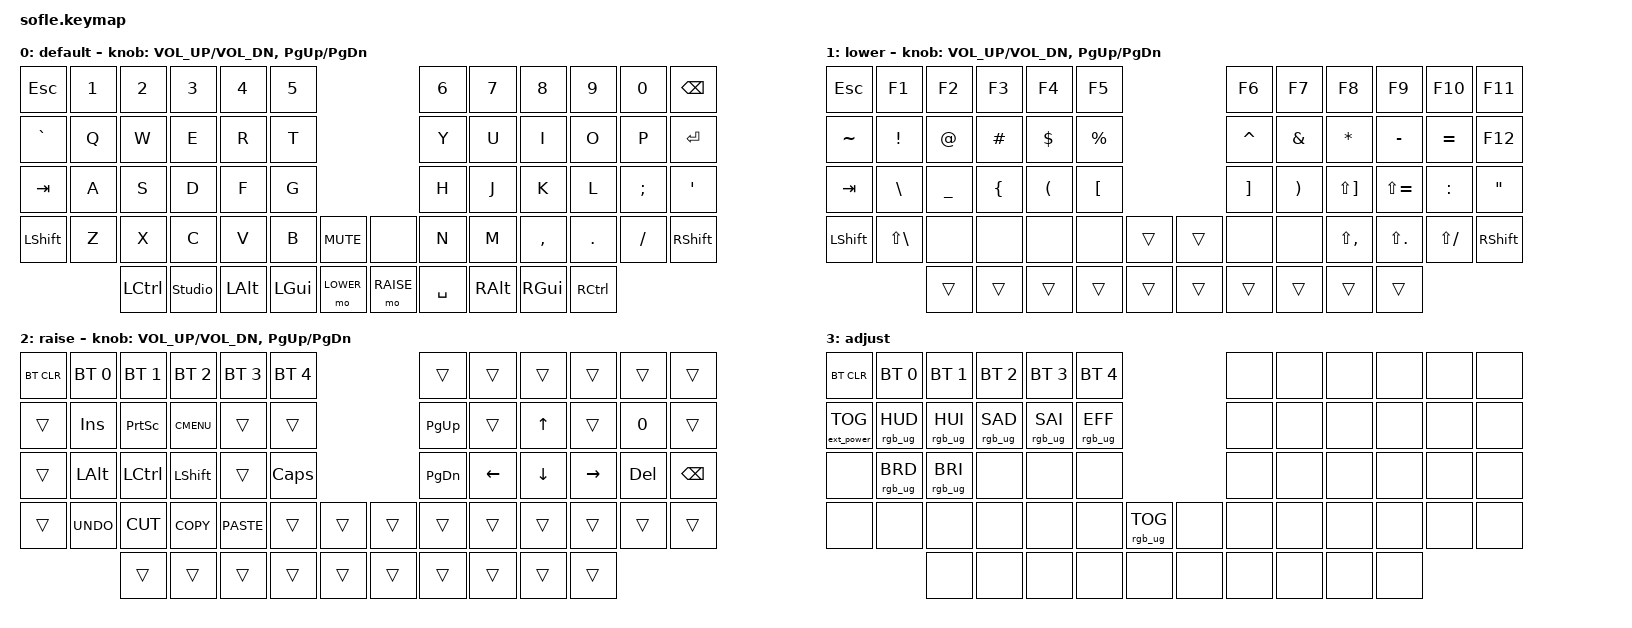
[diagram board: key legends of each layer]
/*
 * Copyright (c) 2020 The ZMK Contributors
 *
 * SPDX-License-Identifier: MIT
 */

#include <behaviors.dtsi>
#include <dt-bindings/zmk/keys.h>
#include <dt-bindings/zmk/bt.h>
#include <dt-bindings/zmk/rgb.h>
#include <dt-bindings/zmk/ext_power.h>

#define BASE 0
#define LOWER 1
#define RAISE 2
#define ADJUST 3

/ {

   // Activate ADJUST layer by pressing raise and lower
    conditional_layers {
        compatible = "zmk,conditional-layers";
        adjust_layer {
            if-layers = <LOWER RAISE>;
            then-layer = <ADJUST>;
        };
    };

    keymap {
        compatible = "zmk,keymap";

        default_layer {
            display-name = "default";
// ------------------------------------------------------------------------------------------------------------
// |  ESC  |  1  |  2   |  3     |  4   |  5   |                   |  6   |  7    |  8   |  9   |   0   | BKSPC |
// |   `   |  Q  |  W   |  E     |  R   |  T   |                   |  Y   |  U    |  I   |  O   |   P   | ENTER |
// |  TAB  |  A  |  S   |  D     |  F   |  G   |                   |  H   |  J    |  K   |  L   |   ;   |   '   |
// | SHIFT |  Z  |  X   |  C     |  V   |  B   |  MUTE  |  |       |  N   |  M    |  ,   |  .   |   /   | SHIFT |
//               | CTRL | STUDIO | ALT  | GUI  |  LOWER |  | RAISE | SPACE| ALT   | GUI  | CTRL |
            bindings = <
&kp ESC   &kp N1 &kp N2    &kp N3            &kp N4    &kp N5                             &kp N6     &kp N7    &kp N8    &kp N9   &kp N0   &kp BSPC
&kp GRAVE &kp Q  &kp W     &kp E             &kp R     &kp T                              &kp Y      &kp U     &kp I     &kp O    &kp P    &kp RET
&kp TAB   &kp A  &kp S     &kp D             &kp F     &kp G                              &kp H      &kp J     &kp K     &kp L    &kp SEMI &kp SQT
&kp LSHFT &kp Z  &kp X     &kp C             &kp V     &kp B      &kp C_MUTE   &none      &kp N      &kp M     &kp COMMA &kp DOT  &kp FSLH &kp RSHFT
                 &kp LCTRL &studio_unlock    &kp LALT  &kp LGUI   &mo LOWER    &mo RAISE  &kp SPACE  &kp RALT  &kp RGUI  &kp RCTRL
            >;

            sensor-bindings = <&inc_dec_kp C_VOL_UP C_VOL_DN &inc_dec_kp PG_UP PG_DN>;
        };

        lower_layer {
            display-name = "lower";
// TODO: Some binds are waiting for shifted keycode support.
// ------------------------------------------------------------------------------------------------------------
// |  ESC  |  F1 |  F2 |  F3  |  F4  |  F5  |                   |  F6  |  F7   |  F8   |  F9  |  F10  |  F11  |
// |   ~   |  !  |  @  |  #   |  $   |  %   |                   |  ^   |  &    |  *    |  -   |   =   |  F12  |
// |  TAB  |  \  |  _  |  {   |  (   |  [   |        |  |       |  ]   |  )    |  }    |  +   |   :   |   "   |
// | SHIFT |  |  |     |      |      |      |        |  |       |      |       |  <    |  >   |   ?   | SHIFT |
//               |     |      |      |      |        |  |       |      |       |       |      |
            bindings = <
&kp ESC      &kp F1        &kp F2    &kp F3      &kp F4    &kp F5                    &kp F6      &kp F7     &kp F8        &kp F9         &kp F10        &kp F11
&kp TILDE    &kp EXCL      &kp AT    &kp HASH    &kp DLLR  &kp PRCNT                 &kp CARET   &kp AMPS   &kp ASTRK     &kp MINUS      &kp EQUAL      &kp F12
&kp TAB      &kp BSLH      &kp UNDER &kp LBRC    &kp LPAR  &kp LBKT                  &kp RBKT    &kp RPAR   &kp LS(RBKT)  &kp LS(EQUAL)  &kp COLON      &kp DQT
&kp LSHFT    &kp LS(BSLH)  &none     &none       &none     &none      &trans &trans  &none       &none      &kp LS(COMMA) &kp LS(DOT)    &kp LS(FSLH)   &kp RSHFT
                           &trans    &trans      &trans    &trans     &trans &trans  &trans      &trans     &trans        &trans
            >;

            sensor-bindings = <&inc_dec_kp C_VOL_UP C_VOL_DN &inc_dec_kp PG_UP PG_DN>;
        };

        raise_layer {
            display-name = "raise";
// ------------------------------------------------------------------------------------------------------------
// | BTCLR | BT1  | BT2  |  BT3  |  BT4  |  BT5 |                |      |      |       |      |       |       |
// |       | INS  | PSCR | GUI   |       |      |                | PGUP |      |   ^   |      |   0   |       |
// |       | ALT  | CTRL | SHIFT |       | CAPS |                | PGDN |   <- |   v   |  ->  |  DEL  | BKSPC |
// |       | UNDO | CUT  | COPY  | PASTE |      |      |  |      |      |      |       |      |       |       |
//                |      |       |       |      |      |  |      |      |      |       |      |
            bindings = <
&bt BT_CLR &bt BT_SEL 0 &bt BT_SEL 1 &bt BT_SEL 2 &bt BT_SEL 3 &bt BT_SEL 4                  &trans    &trans    &trans   &trans    &trans  &trans
&trans     &kp INS      &kp PSCRN    &kp K_CMENU  &trans       &trans                        &kp PG_UP &trans    &kp UP   &trans    &kp N0  &trans
&trans     &kp LALT     &kp LCTRL    &kp LSHFT    &trans       &kp CLCK                      &kp PG_DN &kp LEFT  &kp DOWN &kp RIGHT &kp DEL &kp BSPC
&trans     &kp K_UNDO   &kp K_CUT    &kp K_COPY   &kp K_PASTE  &trans        &trans  &trans  &trans    &trans    &trans   &trans    &trans  &trans
                        &trans       &trans       &trans       &trans        &trans  &trans  &trans    &trans    &trans   &trans
            >;

            sensor-bindings = <&inc_dec_kp C_VOL_UP C_VOL_DN &inc_dec_kp PG_UP PG_DN>;
        };

        adjust_layer {
// ----------------------------------------------------------------------------------------------------------------------------
// | BTCLR  |  BT1    |  BT2    |   BT3   |   BT4   |   BT5   |                  |      |      |       |      |       |       |
// | EXTPWR | RGB_HUD | RGB_HUI | RGB_SAD | RGB_SAI | RGB_EFF |                  |      |      |       |      |       |       |
// |        | RGB_BRD | RGB_BRI |         |         |         |                  |      |      |       |      |       |       |
// |        |         |         |         |         |         | RGB_TOG | |      |      |      |       |      |       |       |
//                    |         |         |         |         |         | |      |      |      |       |      |
            display-name = "adjust";
            bindings = <
&bt BT_CLR        &bt BT_SEL 0    &bt BT_SEL 1    &bt BT_SEL 2    &bt BT_SEL 3    &bt BT_SEL 4                            &none &none &none &none &none &none
&ext_power EP_TOG &rgb_ug RGB_HUD &rgb_ug RGB_HUI &rgb_ug RGB_SAD &rgb_ug RGB_SAI &rgb_ug RGB_EFF                         &none &none &none &none &none &none
&none             &rgb_ug RGB_BRD &rgb_ug RGB_BRI &none           &none           &none                                   &none &none &none &none &none &none
&none             &none           &none           &none           &none           &none            &rgb_ug RGB_TOG &none  &none &none &none &none &none &none
                                  &none           &none           &none           &none            &none           &none  &none &none &none &none
            >;
        };

    };
};
